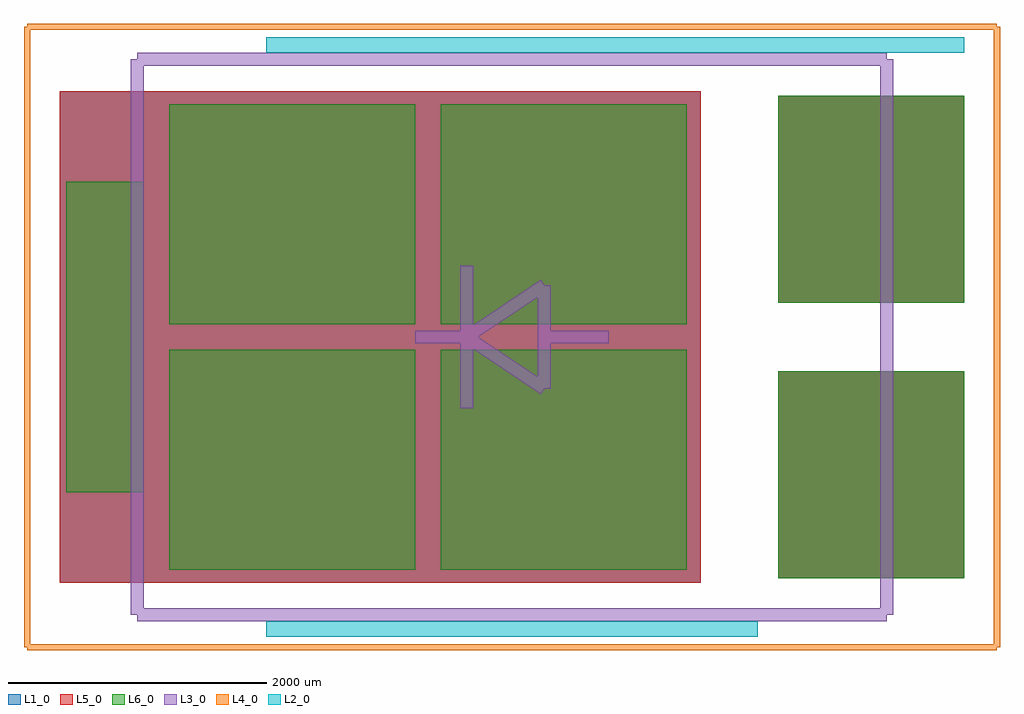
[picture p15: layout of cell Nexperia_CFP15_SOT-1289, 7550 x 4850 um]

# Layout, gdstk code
import gdstk
lib = gdstk.Library(unit=1e-6, precision=1e-09)
def R(c, l, rs):  # rectangles x0, y0, x1, y1
    for r in rs: c.add(gdstk.rectangle(r[:2], r[2:], *l))
L1_0 = (1, 0)
L2_0 = (2, 0)
L3_0 = (3, 0)
L4_0 = (4, 0)
L5_0 = (5, 0)
L6_0 = (6, 0)

nexperia_cfp15_sot_1289 = lib.new_cell('Nexperia_CFP15_SOT-1289')
R(nexperia_cfp15_sot_1289, L1_0, [(-3500,-1900,1460,1900), (2060,-1865,3500,-265), (2060,265,3500,1865)])
R(nexperia_cfp15_sot_1289, L5_0, [(-3500,-1900,1460,1900), (2060,-1865,3500,-265), (2060,265,3500,1865)])
R(nexperia_cfp15_sot_1289, L6_0, [(2060,-1865,3500,-265), (-2650,-1800,-750,-100), (-550,-1800,1350,-100), (-3450,-1200,-2850,1200), (-2650,100,-750,1800), (-550,100,1350,1800), (2060,265,3500,1865)])
nexperia_cfp15_sot_1289.add(gdstk.FlexPath([(250,0),(750,0)], 100, ends="flush", simple_path=True, layer=3, datatype=0))  # L3_0
nexperia_cfp15_sot_1289.add(gdstk.FlexPath([(250,400),(-350,0)], 100, ends="flush", simple_path=True, layer=3, datatype=0))  # L3_0
nexperia_cfp15_sot_1289.add(gdstk.FlexPath([(250,-400),(250,400)], 100, ends="flush", simple_path=True, layer=3, datatype=0))  # L3_0
nexperia_cfp15_sot_1289.add(gdstk.FlexPath([(-350,0),(250,-400)], 100, ends="flush", simple_path=True, layer=3, datatype=0))  # L3_0
nexperia_cfp15_sot_1289.add(gdstk.FlexPath([(-350,-550),(-350,550)], 100, ends="flush", simple_path=True, layer=3, datatype=0))  # L3_0
nexperia_cfp15_sot_1289.add(gdstk.FlexPath([(-750,0),(-350,0)], 100, ends="flush", simple_path=True, layer=3, datatype=0))  # L3_0
nexperia_cfp15_sot_1289.add(gdstk.FlexPath([(-2900,2150),(-2900,-2150)], 100, ends="flush", simple_path=True, layer=3, datatype=0))  # L3_0
nexperia_cfp15_sot_1289.add(gdstk.FlexPath([(2900,2150),(-2900,2150)], 100, ends="flush", simple_path=True, layer=3, datatype=0))  # L3_0
nexperia_cfp15_sot_1289.add(gdstk.FlexPath([(2900,-2150),(2900,2150)], 100, ends="flush", simple_path=True, layer=3, datatype=0))  # L3_0
nexperia_cfp15_sot_1289.add(gdstk.FlexPath([(-2900,-2150),(2900,-2150)], 100, ends="flush", simple_path=True, layer=3, datatype=0))  # L3_0
nexperia_cfp15_sot_1289.add(gdstk.FlexPath([(-3750,-2400),(3750,-2400)], 50, ends="flush", simple_path=True, layer=4, datatype=0))  # L4_0
nexperia_cfp15_sot_1289.add(gdstk.FlexPath([(3750,-2400),(3750,2400)], 50, ends="flush", simple_path=True, layer=4, datatype=0))  # L4_0
nexperia_cfp15_sot_1289.add(gdstk.FlexPath([(3750,2400),(-3750,2400)], 50, ends="flush", simple_path=True, layer=4, datatype=0))  # L4_0
nexperia_cfp15_sot_1289.add(gdstk.FlexPath([(-3750,-2400),(-3750,2400)], 50, ends="flush", simple_path=True, layer=4, datatype=0))  # L4_0
nexperia_cfp15_sot_1289.add(gdstk.FlexPath([(-1900,2260),(3500,2260)], 120, ends="flush", simple_path=True, layer=2, datatype=0))  # L2_0
nexperia_cfp15_sot_1289.add(gdstk.FlexPath([(-1900,-2260),(1900,-2260)], 120, ends="flush", simple_path=True, layer=2, datatype=0))  # L2_0
nexperia_cfp15_sot_1289.add(gdstk.Label('REF**', (0,-3000), layer=2, texttype=0))
nexperia_cfp15_sot_1289.add(gdstk.Label('Nexperia_CFP15_SOT-1289', (0,3000), layer=3, texttype=0))
nexperia_cfp15_sot_1289.add(gdstk.Label('%R', (0,-3000), layer=3, texttype=0))

lib.write_gds('Nexperia_CFP15_SOT-1289.gds')
